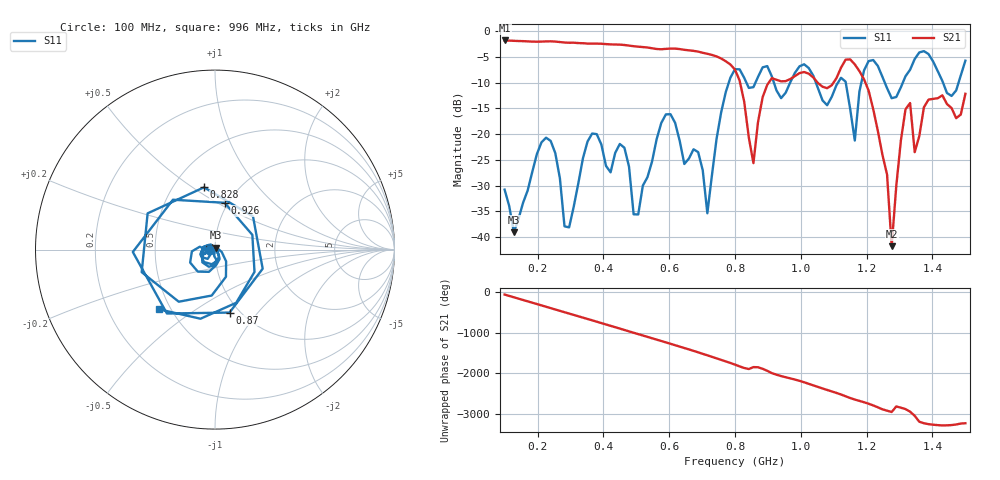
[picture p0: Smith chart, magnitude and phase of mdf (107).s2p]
! NanoVNA-App
! Date: 2025-09-25 15:39:15
! Start: 100MHz Stop: 1,5GHz Points: 101
! S-Parameter data: F S11 S21 S12 S22
# Hz S RI R 50
!  Frequency  S11_Real  S11_Imag  S21_Real  S21_Imag  S12_Real  S12_Imag  S22_Real  S22_Imag
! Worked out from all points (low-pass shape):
!   101 points, 100 MHz to 1.5 GHz, reference 50 ohm
!   highest |S21| = -1.80 dB at 100 MHz (marker M1); lowest = -41.7 dB at 1.276 GHz (marker M2)
!   |S21| within 3 dB of the highest: start of sweep to 739.1 MHz
!   lowest |S11| = -39.0 dB at 128 MHz (marker M3), VSWR 1.02, Z = 50.3 + j1.07 ohm
!   |S11| at or under -10 dB: start of sweep to 781.1 MHz; 1.046 GHz to 1.113 GHz (67.15 MHz wide, 6.22 % of centre); 1.255 GHz to 1.31 GHz (54.68 MHz wide, 4.26 % of centre) (the widest 3 of 7)
!   S12 and S22 are empty: the file has one direction only
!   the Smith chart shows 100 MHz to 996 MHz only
!   S11 on the Smith chart (normalised r, x): 100 MHz: 0.94, -0.01; 828 MHz: 0.70, +0.56; 870 MHz: 0.90, -0.73; 926 MHz: 0.96, +0.54; 996 MHz: 0.43, -0.36
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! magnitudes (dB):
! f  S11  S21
! 100 MHz  -30.8  -1.8
! 128 MHz  -39.0  -1.9
! 212 MHz  -21.6  -2.0
! 282 MHz  -37.9  -2.2
! 338 MHz  -24.7  -2.3
! 464 MHz  -22.6  -2.7
! 506 MHz  -35.6  -3.0
! 576 MHz  -17.8  -3.5
! 716 MHz  -35.4  -4.4
! 800 MHz  -7.4  -7.5
! 828 MHz  -9.1  -13.7
! 856 MHz  -10.9  -25.6
! 870 MHz  -8.9  -17.6
! 926 MHz  -11.5  -9.4
! 996 MHz  -6.8  -8.1
! 1.038 GHz  -8.7  -9.0
! 1.164 GHz  -21.2  -6.5
! 1.192 GHz  -7.6  -9.3
! 1.276 GHz  -13.0  -41.7
! 1.318 GHz  -8.8  -15.2
! 1.346 GHz  -5.4  -23.5
! 1.5 GHz  -5.7  -12.2
